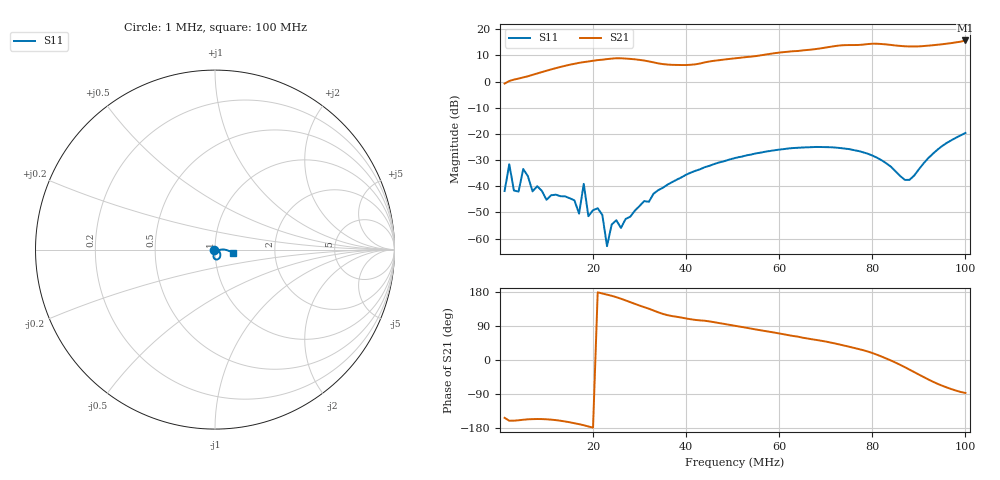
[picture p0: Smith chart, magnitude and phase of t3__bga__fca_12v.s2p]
# HZ S RI R 50
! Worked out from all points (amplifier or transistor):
!   100 points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, 1 MHz to 100 MHz, reference 50 ohm
!   highest |S21| = 15.7 dB at 100 MHz (marker M1)
!   |S21| within 3 dB of that: 68.97 MHz to end of sweep
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1000001  -0.00813 -7.08e-05  -0.8151 -0.4215  0 0  0 0
2000001  0.0232 -0.0124  -0.9661 -0.3474  0 0  0 0
3000001  -0.00828 0.000259  -1.027 -0.3727  0 0  0 0
5000001  -0.0207 -0.00543  -1.112 -0.4579  0 0  0 0
7000001  -0.00794 0.000918  -1.231 -0.5472  0 0  0 0
1.7e7  -0.00286 -0.000895  -2.244 -0.4215  0 0  0 0
1.8e7  -0.0105 -0.00369  -2.337 -0.3242  0 0  0 0
1.9e7  -0.00143 -0.00226  -2.416 -0.193  0 0  0 0
2.2e7  -0.00257 -0.00117  -2.619 0.2084  0 0  0 0
2.3e7  -9.6e-05 -0.00071  -2.67 0.3534  0 0  0 0
2.4e7  -3.64e-05 -0.00185  -2.705 0.5071  0 0  0 0
2.7e7  0.000885 0.0022  -2.543 1.069  0 0  0 0
3.4e7  0.00837 0.000902  -1.307 1.809  0 0  0 0
5.1e7  0.0287 -0.0209  0.0397 2.818  0 0  0 0
6e7  0.0272 -0.0422  1.222 3.368  0 0  0 0
6.7e7  0.0154 -0.0538  2.363 3.347  0 0  0 0
7.5e7  -0.00296 -0.0512  4.089 2.87  0 0  0 0
8e7  -0.00833 -0.0378  5.029 1.68  0 0  0 0
8.4e7  -0.00443 -0.0232  5.024 -0.1149  0 0  0 0
8.8e7  0.00991 -0.00882  4.246 -2.016  0 0  0 0
9.2e7  0.0343 -0.000127  3.056 -3.79  0 0  0 0
1e8  0.1021 -0.0212  0.3183 -6.109  0 0  0 0
